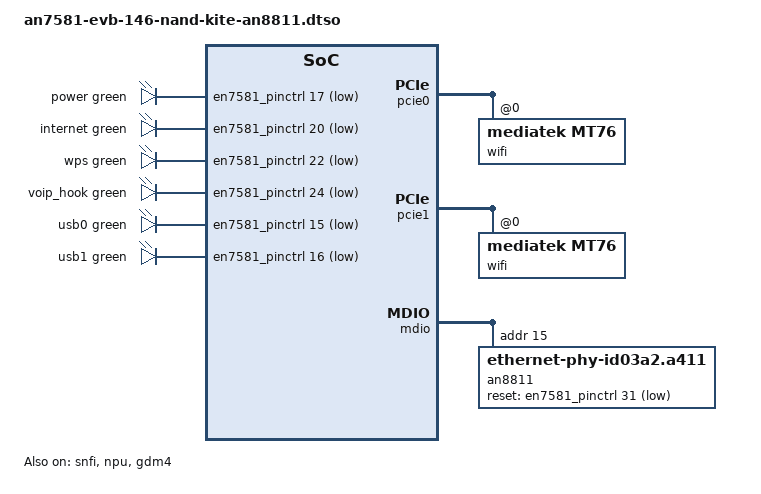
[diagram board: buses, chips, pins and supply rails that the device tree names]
/dts-v1/;
/plugin/;

#include <dt-bindings/gpio/gpio.h>
#include <dt-bindings/input/input.h>
#include <dt-bindings/leds/common.h>

&{/} {
	model = "Airoha AN7581 Evaluation Board  (Kite + AN8811)";
	compatible = "airoha,an7581-evb-146-nand-kite-an8811", "airoha,an7581", "airoha,en7581","airoha,pon-upstream";

	gpio-keys-polled {
		wifi_2g {
			label = "wifi_2g";
			linux,code = <BTN_2>;
			gpios = <&en7581_pinctrl 4 GPIO_ACTIVE_LOW>;
		};
		
		wifi_5g {
			label = "wifi_5g";
			linux,code = <BTN_3>;
			gpios = <&en7581_pinctrl 5 GPIO_ACTIVE_LOW>;
		};
		
		led_enable {
			label = "led_enable";
			linux,code = <BTN_1>;
			gpios = <&en7581_pinctrl 6 GPIO_ACTIVE_LOW>;
		};
		
		wps {
			label = "wps";
			linux,code = <KEY_WPS_BUTTON>;
			gpios = <&en7581_pinctrl 7 GPIO_ACTIVE_LOW>;
		};
	};
	
	leds {
		compatible = "gpio-leds";

		led-0 {
			label = "power";
			color = <LED_COLOR_ID_GREEN>;
			function = LED_FUNCTION_POWER;
			gpios = <&en7581_pinctrl 17 GPIO_ACTIVE_LOW>;
			default-state = "on";
		};

		/*led-1 {
			label = "xponLos";
			color = <LED_COLOR_ID_RED>;
			function = LED_FUNCTION_STATUS;
			gpios = <&en7581_pinctrl 25 GPIO_ACTIVE_LOW>;
			default-state = "on";
		};*/

		led-2 {
			label = "internet";
			color = <LED_COLOR_ID_GREEN>;
			function = LED_FUNCTION_STATUS;
			gpios = <&en7581_pinctrl 20 GPIO_ACTIVE_LOW>;
		};

		led-3 {
			label = "wps";
			color = <LED_COLOR_ID_GREEN>;
			function = LED_FUNCTION_STATUS;
			gpios = <&en7581_pinctrl 22 GPIO_ACTIVE_LOW>;
		};

		led-4 {
			label = "voip_hook";
			color = <LED_COLOR_ID_GREEN>;
			function = LED_FUNCTION_STATUS;
			gpios = <&en7581_pinctrl 24 GPIO_ACTIVE_LOW>;
		};
		
		led-5 {
			label = "usb0";
			color = <LED_COLOR_ID_GREEN>;
			function = LED_FUNCTION_STATUS;
			gpios = <&en7581_pinctrl 15 GPIO_ACTIVE_LOW>;
		};

		led-6 {
			label = "usb1";
			color = <LED_COLOR_ID_GREEN>;
			function = LED_FUNCTION_STATUS;
			gpios = <&en7581_pinctrl 16 GPIO_ACTIVE_LOW>;
		};
	};
};

&snfi {
	status = "okay";
};
	
&en7581_pinctrl {
	gswp1_led0_pins: gswp1-led0-pins {
		mux {
			function = "phy1_led0";
			pins = "gpio43";
		};
	};

	gswp2_led0_pins: gswp2-led0-pins {
		mux {
			function = "phy2_led0";
			pins = "gpio44";
		};
	};

	gswp3_led0_pins: gswp3-led0-pins {
		mux {
			function = "phy3_led0";
			pins = "gpio45";
		};
	};

	gswp4_led0_pins: gswp4-led0-pins {
		mux {
			function = "phy4_led0";
			pins = "gpio46";
		};
	};
};

&pcie0 {
	pinctrl-names = "default";
	pinctrl-0 = <&pcie0_rst_pins>;
	status = "okay";
	pcie@0,0 {
		reg = <0x0000 0 0 0 0>;
		wifi@0,0 {
			compatible = "mediatek,mt76";
			reg = <0x0000 0 0 0 0>;
			airoha,npu = <&npu>;
			airoha,eth = <&eth>;
		};
	};
};
	
&pcie1 {
	pinctrl-names = "default";
	pinctrl-0 = <&pcie1_rst_pins>;
	status = "okay";

	pcie@1,0 {
		reg = <0x0000 0 0 0 0>;
		wifi@1,0 {
			compatible = "mediatek,mt76";
			reg = <0x0000 0 0 0 0>;
			airoha,npu = <&npu>;
			airoha,eth = <&eth>;
		};
	};
};

&npu {
	firmware-name="airoha/en7581_npu_rv32.bin", "airoha/en7581_npu_data.bin";
	status = "okay";
};

&mdio {
	pinctrl-names = "default";
	pinctrl-0 = <&mdio_pins>;
	an8811: ethernet-phy@f {
		compatible = "ethernet-phy-id03a2.a411";
		reg = <0xf>;
		phy-mode = "2500base-x";
		reset-deassert-us = <350000>;
		reset-assert-us = <200000>;
		reset-gpios = <&en7581_pinctrl 31 GPIO_ACTIVE_LOW>;
	};
};

&gdm4 {
	status = "okay";

	phy-handle = <&an8811>;
	phy-mode = "2500base-x";
};
